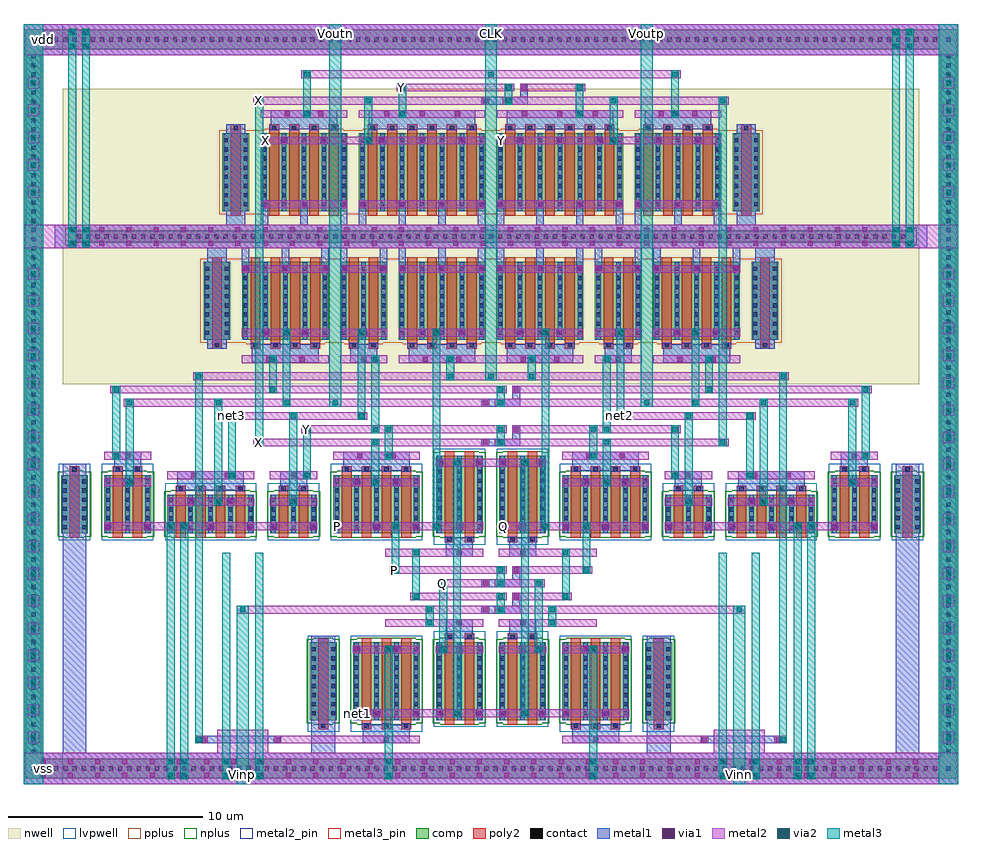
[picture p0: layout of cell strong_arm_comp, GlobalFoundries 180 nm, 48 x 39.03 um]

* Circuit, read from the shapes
.subckt strong_arm_comp CLK P Q Vinn Vinp Voutn Voutp X Y net1 net2 net3 vdd vss
XM1 vss vss vss vss nfet_03v3 w=3u l=0.5u m=2
XM2 Voutn Voutp vss vss nfet_03v3 w=3u l=0.5u m=2
XM3 Voutn net3 vss vss nfet_03v3 w=2u l=0.5u m=4
XM4 net3 Y vss vss nfet_03v3 w=2u l=0.5u m=2
XM5 vss vss vss vss nfet_03v3 w=4u l=0.5u m=2
XM6 X Y P vss nfet_03v3 w=3u l=0.5u m=4
XM7 net1 CLK vss vss nfet_03v3 w=4u l=0.5u m=6
XM8 Q Vinp net1 vss nfet_03v3 w=4u l=0.5u m=4
XM9 P Vinn net1 vss nfet_03v3 w=4u l=0.5u m=4
XM10 Y X Q vss nfet_03v3 w=3u l=0.5u m=4
XM11 net2 X vss vss nfet_03v3 w=2u l=0.5u m=2
XM12 Voutp net2 vss vss nfet_03v3 w=2u l=0.5u m=4
XM13 Voutp Voutn vss vss nfet_03v3 w=3u l=0.5u m=2
XM14 vdd vdd vdd vdd pfet_03v3 w=4u l=0.5u m=4
XM15 Voutn Voutp vdd vdd pfet_03v3 w=4u l=0.5u m=4
XM16 X CLK vdd vdd pfet_03v3 w=4u l=0.5u m=4
XM17 net3 Y vdd vdd pfet_03v3 w=4u l=0.5u m=2
XM18 X Y vdd vdd pfet_03v3 w=4u l=0.5u m=6
XM19 P CLK vdd vdd pfet_03v3 w=4u l=0.5u m=4
XM20 Q CLK vdd vdd pfet_03v3 w=4u l=0.5u m=4
XM21 Y X vdd vdd pfet_03v3 w=4u l=0.5u m=6
XM22 net2 X vdd vdd pfet_03v3 w=4u l=0.5u m=2
XM23 Y CLK vdd vdd pfet_03v3 w=4u l=0.5u m=4
XM24 Voutp Voutn vdd vdd pfet_03v3 w=4u l=0.5u m=4
.ends

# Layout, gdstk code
from math import pi, radians
import gdstk
lib = gdstk.Library(unit=1e-6, precision=1e-09)
def R(c, l, rs):  # rectangles x0, y0, x1, y1
    for r in rs: c.add(gdstk.rectangle(r[:2], r[2:], *l))
def A(c, l, x, y, w, h, nx, ny, dx, dy):  # array of equal rectangles
    R(c, l, [(x+i*dx, y+j*dy, x+i*dx+w, y+j*dy+h) for i in range(nx) for j in range(ny)])
nwell = (21, 0)
comp = (22, 0)
poly2 = (30, 0)
pplus = (31, 0)
nplus = (32, 0)
contact = (33, 0)
metal1 = (34, 0)
via1 = (35, 0)
metal2 = (36, 0)
metal2_pin = (36, 10)
via2 = (38, 0)
metal3 = (42, 0)
metal3_pin = (42, 10)
lvpwell = (204, 0)

nfet_03v3_wdbf7j = lib.new_cell('nfet_03v3_WDBF7J')
R(nfet_03v3_wdbf7j, comp, [(-0.69,-2.12,0.69,1.88)])
R(nfet_03v3_wdbf7j, poly2, [(-0.25,-2.34,0.25,2.34)])
R(nfet_03v3_wdbf7j, nplus, [(-0.48,-2.35,0.48,-2.28), (-0.85,-2.28,0.85,2.04), (-0.48,2.04,0.48,2.11)])
A(nfet_03v3_wdbf7j, contact, -0.62, -1.875, 0.22, 0.22, 1, 8, 0, 0.47)
A(nfet_03v3_wdbf7j, contact, 0.4, -1.875, 0.22, 0.22, 1, 8, 0, 0.47)
R(nfet_03v3_wdbf7j, contact, [(-0.11,2.05,0.11,2.27)])
R(nfet_03v3_wdbf7j, metal1, [(-0.625,-2.11,-0.395,1.87), (0.395,-2.11,0.625,1.87), (-0.24,2.045,0.24,2.275)])
R(nfet_03v3_wdbf7j, lvpwell, [(-0.81,-2.46,0.81,2.46)])

nfet_03v3_a8dk6g = lib.new_cell('nfet_03v3_A8DK6G')
R(nfet_03v3_a8dk6g, comp, [(-1.2,-2.12,1.2,1.88)])
R(nfet_03v3_a8dk6g, poly2, [(-0.76,-2.34,-0.26,2.34), (0.26,-2.34,0.76,2.34)])
R(nfet_03v3_a8dk6g, nplus, [(-0.99,-2.35,0.99,-2.28), (-1.36,-2.28,1.36,2.04), (-0.99,2.04,0.99,2.11)])
A(nfet_03v3_a8dk6g, contact, -1.13, -1.875, 0.22, 0.22, 3, 8, 1.02, 0.47)
R(nfet_03v3_a8dk6g, contact, [(-0.62,2.05,-0.4,2.27), (0.4,2.05,0.62,2.27)])
A(nfet_03v3_a8dk6g, metal1, -1.135, -2.11, 0.23, 3.98, 3, 1, 1.02, 0)
R(nfet_03v3_a8dk6g, metal1, [(-0.75,2.045,-0.27,2.275), (0.27,2.045,0.75,2.275)])
R(nfet_03v3_a8dk6g, lvpwell, [(-1.32,-2.46,1.32,2.46)])

nfet_03v3_7yj47k = lib.new_cell('nfet_03v3_7YJ47K')
R(nfet_03v3_7yj47k, comp, [(-1.71,-2.12,1.71,1.88)])
A(nfet_03v3_7yj47k, poly2, -1.27, -2.34, 0.5, 4.68, 3, 1, 1.02, 0)
R(nfet_03v3_7yj47k, nplus, [(-1.5,-2.35,1.5,-2.28), (-1.87,-2.28,1.87,2.04), (-1.5,2.04,1.5,2.11)])
A(nfet_03v3_7yj47k, contact, -1.64, -1.875, 0.22, 0.22, 4, 8, 1.02, 0.47)
A(nfet_03v3_7yj47k, contact, -1.13, 2.05, 0.22, 0.22, 3, 1, 1.02, 0)
A(nfet_03v3_7yj47k, metal1, -1.645, -2.11, 0.23, 3.98, 4, 1, 1.02, 0)
A(nfet_03v3_7yj47k, metal1, -1.26, 2.045, 0.48, 0.23, 3, 1, 1.02, 0)
R(nfet_03v3_7yj47k, lvpwell, [(-1.83,-2.46,1.83,2.46)])

nfet_03v3_9xudbl = lib.new_cell('nfet_03v3_9XUDBL')
R(nfet_03v3_9xudbl, comp, [(-0.69,-1.62,0.69,1.38)])
R(nfet_03v3_9xudbl, poly2, [(-0.25,-1.84,0.25,1.84)])
R(nfet_03v3_9xudbl, nplus, [(-0.48,-1.85,0.48,-1.78), (-0.85,-1.78,0.85,1.54), (-0.48,1.54,0.48,1.61)])
A(nfet_03v3_9xudbl, contact, -0.62, -1.405, 0.22, 0.22, 1, 6, 0, 0.47)
A(nfet_03v3_9xudbl, contact, 0.4, -1.405, 0.22, 0.22, 1, 6, 0, 0.47)
R(nfet_03v3_9xudbl, contact, [(-0.11,1.55,0.11,1.77)])
R(nfet_03v3_9xudbl, metal1, [(-0.625,-1.61,-0.395,1.37), (0.395,-1.61,0.625,1.37), (-0.24,1.545,0.24,1.775)])
R(nfet_03v3_9xudbl, lvpwell, [(-0.81,-1.96,0.81,1.96)])

nfet_03v3_9wnjz7 = lib.new_cell('nfet_03v3_9WNJZ7')
R(nfet_03v3_9wnjz7, comp, [(-1.2,-1.62,1.2,1.38)])
R(nfet_03v3_9wnjz7, poly2, [(-0.76,-1.84,-0.26,1.84), (0.26,-1.84,0.76,1.84)])
R(nfet_03v3_9wnjz7, nplus, [(-0.99,-1.85,0.99,-1.78), (-1.36,-1.78,1.36,1.54), (-0.99,1.54,0.99,1.61)])
A(nfet_03v3_9wnjz7, contact, -1.13, -1.405, 0.22, 0.22, 3, 6, 1.02, 0.47)
R(nfet_03v3_9wnjz7, contact, [(-0.62,1.55,-0.4,1.77), (0.4,1.55,0.62,1.77)])
A(nfet_03v3_9wnjz7, metal1, -1.135, -1.61, 0.23, 2.98, 3, 1, 1.02, 0)
R(nfet_03v3_9wnjz7, metal1, [(-0.75,1.545,-0.27,1.775), (0.27,1.545,0.75,1.775)])
R(nfet_03v3_9wnjz7, lvpwell, [(-1.32,-1.96,1.32,1.96)])

nfet_03v3_42md5l = lib.new_cell('nfet_03v3_42MD5L')
R(nfet_03v3_42md5l, comp, [(-2.22,-1.12,2.22,0.88)])
A(nfet_03v3_42md5l, poly2, -1.78, -1.34, 0.5, 2.68, 4, 1, 1.02, 0)
R(nfet_03v3_42md5l, nplus, [(-2.01,-1.35,2.01,-1.28), (-2.38,-1.28,2.38,1.04), (-2.01,1.04,2.01,1.11)])
A(nfet_03v3_42md5l, contact, -2.15, -0.935, 0.22, 0.22, 5, 4, 1.02, 0.47)
A(nfet_03v3_42md5l, contact, -1.64, 1.05, 0.22, 0.22, 4, 1, 1.02, 0)
A(nfet_03v3_42md5l, metal1, -2.155, -1.11, 0.23, 1.98, 5, 1, 1.02, 0)
A(nfet_03v3_42md5l, metal1, -1.77, 1.045, 0.48, 0.23, 4, 1, 1.02, 0)
R(nfet_03v3_42md5l, lvpwell, [(-2.34,-1.46,2.34,1.46)])

nfet_03v3_kp96zv = lib.new_cell('nfet_03v3_KP96ZV')
R(nfet_03v3_kp96zv, comp, [(-1.2,-1.12,1.2,0.88)])
R(nfet_03v3_kp96zv, poly2, [(-0.76,-1.34,-0.26,1.34), (0.26,-1.34,0.76,1.34)])
R(nfet_03v3_kp96zv, nplus, [(-0.99,-1.35,0.99,-1.28), (-1.36,-1.28,1.36,1.04), (-0.99,1.04,0.99,1.11)])
A(nfet_03v3_kp96zv, contact, -1.13, -0.935, 0.22, 0.22, 3, 4, 1.02, 0.47)
R(nfet_03v3_kp96zv, contact, [(-0.62,1.05,-0.4,1.27), (0.4,1.05,0.62,1.27)])
A(nfet_03v3_kp96zv, metal1, -1.135, -1.11, 0.23, 1.98, 3, 1, 1.02, 0)
R(nfet_03v3_kp96zv, metal1, [(-0.75,1.045,-0.27,1.275), (0.27,1.045,0.75,1.275)])
R(nfet_03v3_kp96zv, lvpwell, [(-1.32,-1.46,1.32,1.46)])

nfet_03v3_425gbq = lib.new_cell('nfet_03v3_425GBQ')
R(nfet_03v3_425gbq, comp, [(-2.22,-1.62,2.22,1.38)])
A(nfet_03v3_425gbq, poly2, -1.78, -1.84, 0.5, 3.68, 4, 1, 1.02, 0)
R(nfet_03v3_425gbq, nplus, [(-2.01,-1.85,2.01,-1.78), (-2.38,-1.78,2.38,1.54), (-2.01,1.54,2.01,1.61)])
A(nfet_03v3_425gbq, contact, -2.15, -1.405, 0.22, 0.22, 5, 6, 1.02, 0.47)
A(nfet_03v3_425gbq, contact, -1.64, 1.55, 0.22, 0.22, 4, 1, 1.02, 0)
A(nfet_03v3_425gbq, metal1, -2.155, -1.61, 0.23, 2.98, 5, 1, 1.02, 0)
A(nfet_03v3_425gbq, metal1, -1.77, 1.545, 0.48, 0.23, 4, 1, 1.02, 0)
R(nfet_03v3_425gbq, lvpwell, [(-2.34,-1.96,2.34,1.96)])

pfet_03v3_amaglz = lib.new_cell('pfet_03v3_AMAGLZ')
R(pfet_03v3_amaglz, nwell, [(-1.12,-2.77,1.12,2.77)])
R(pfet_03v3_amaglz, comp, [(-0.69,-2.12,0.69,1.88)])
R(pfet_03v3_amaglz, poly2, [(-0.25,-2.34,0.25,2.34)])
R(pfet_03v3_amaglz, pplus, [(-0.48,-2.35,0.48,-2.28), (-0.85,-2.28,0.85,2.04), (-0.48,2.04,0.48,2.11)])
A(pfet_03v3_amaglz, contact, -0.62, -1.875, 0.22, 0.22, 1, 8, 0, 0.47)
A(pfet_03v3_amaglz, contact, 0.4, -1.875, 0.22, 0.22, 1, 8, 0, 0.47)
R(pfet_03v3_amaglz, contact, [(-0.11,2.05,0.11,2.27)])
R(pfet_03v3_amaglz, metal1, [(-0.625,-2.11,-0.395,1.87), (0.395,-2.11,0.625,1.87), (-0.24,2.045,0.24,2.275)])

pfet_03v3_gp42x3 = lib.new_cell('pfet_03v3_GP42X3')
R(pfet_03v3_gp42x3, nwell, [(-2.65,-2.77,2.65,2.77)])
R(pfet_03v3_gp42x3, comp, [(-2.22,-2.12,2.22,1.88)])
A(pfet_03v3_gp42x3, poly2, -1.78, -2.34, 0.5, 4.68, 4, 1, 1.02, 0)
R(pfet_03v3_gp42x3, pplus, [(-2.01,-2.35,2.01,-2.28), (-2.38,-2.28,2.38,2.04), (-2.01,2.04,2.01,2.11)])
A(pfet_03v3_gp42x3, contact, -2.15, -1.875, 0.22, 0.22, 5, 8, 1.02, 0.47)
A(pfet_03v3_gp42x3, contact, -1.64, 2.05, 0.22, 0.22, 4, 1, 1.02, 0)
A(pfet_03v3_gp42x3, metal1, -2.155, -2.11, 0.23, 3.98, 5, 1, 1.02, 0)
A(pfet_03v3_gp42x3, metal1, -1.77, 2.045, 0.48, 0.23, 4, 1, 1.02, 0)

pfet_03v3_ze833c = lib.new_cell('pfet_03v3_ZE833C')
R(pfet_03v3_ze833c, nwell, [(-1.63,-2.77,1.63,2.77)])
R(pfet_03v3_ze833c, comp, [(-1.2,-2.12,1.2,1.88)])
R(pfet_03v3_ze833c, poly2, [(-0.76,-2.34,-0.26,2.34), (0.26,-2.34,0.76,2.34)])
R(pfet_03v3_ze833c, pplus, [(-0.99,-2.35,0.99,-2.28), (-1.36,-2.28,1.36,2.04), (-0.99,2.04,0.99,2.11)])
A(pfet_03v3_ze833c, contact, -1.13, -1.875, 0.22, 0.22, 3, 8, 1.02, 0.47)
R(pfet_03v3_ze833c, contact, [(-0.62,2.05,-0.4,2.27), (0.4,2.05,0.62,2.27)])
A(pfet_03v3_ze833c, metal1, -1.135, -2.11, 0.23, 3.98, 3, 1, 1.02, 0)
R(pfet_03v3_ze833c, metal1, [(-0.75,2.045,-0.27,2.275), (0.27,2.045,0.75,2.275)])

pfet_03v3_y9zhkl = lib.new_cell('pfet_03v3_Y9ZHKL')
R(pfet_03v3_y9zhkl, nwell, [(-3.67,-2.77,3.67,2.77)])
R(pfet_03v3_y9zhkl, comp, [(-3.24,-2.12,3.24,1.88)])
A(pfet_03v3_y9zhkl, poly2, -2.8, -2.34, 0.5, 4.68, 6, 1, 1.02, 0)
R(pfet_03v3_y9zhkl, pplus, [(-3.03,-2.35,3.03,-2.28), (-3.4,-2.28,3.4,2.04), (-3.03,2.04,3.03,2.11)])
A(pfet_03v3_y9zhkl, contact, -3.17, -1.875, 0.22, 0.22, 7, 8, 1.02, 0.47)
A(pfet_03v3_y9zhkl, contact, -2.66, 2.05, 0.22, 0.22, 6, 1, 1.02, 0)
A(pfet_03v3_y9zhkl, metal1, -3.175, -2.11, 0.23, 3.98, 7, 1, 1.02, 0)
A(pfet_03v3_y9zhkl, metal1, -2.79, 2.045, 0.48, 0.23, 6, 1, 1.02, 0)

strong_arm_comp = lib.new_cell('strong_arm_comp')
R(strong_arm_comp, nwell, [(-22,20.52,22,35.71)])
R(strong_arm_comp, comp, [(-23.9,0.3,23.9,1.3), (-23.9,1.3,-23.1,37.73), (23.1,1.3,23.9,37.73), (-21.7,27.815,21.7,28.415), (-23.9,37.73,23.9,38.73)])
A(strong_arm_comp, pplus, -5.18, 22.655, 0.28, 4.32, 3, 1, 5.04, 0)
A(strong_arm_comp, pplus, -7.22, 29.255, 0.28, 4.32, 3, 1, 7.08, 0)
R(strong_arm_comp, pplus, [(-23.92,0.28,23.92,1.32), (-23.92,1.32,-23.08,37.71), (23.08,1.32,23.92,37.71), (-13.22,22.655,-12.94,26.975), (-8.18,22.655,-7.9,26.975), (7.9,22.655,8.18,26.975), (12.94,22.655,13.22,26.975), (-12.26,29.255,-11.98,33.575), (11.98,29.255,12.26,33.575), (-23.92,37.71,23.92,38.75)])
R(strong_arm_comp, nplus, [(-21.86,27.655,-21.41,27.795), (21.41,27.655,21.86,27.795), (-21.86,27.795,21.86,28.435), (-21.86,28.435,-21.41,28.575), (21.41,28.435,21.86,28.575)])
A(strong_arm_comp, contact, -22.905, 0.69, 0.22, 0.22, 98, 2, 0.47, 37.43)
A(strong_arm_comp, contact, -23.61, 1.545, 0.22, 0.22, 1, 77, 0, 0.47)
A(strong_arm_comp, contact, 23.39, 1.545, 0.22, 0.22, 1, 77, 0, 0.47)
A(strong_arm_comp, contact, -21.26, 28.005, 0.22, 0.22, 91, 1, 0.47, 0)
R(strong_arm_comp, contact, [(-23.61,0.69,-23.39,0.91), (23.39,0.69,23.61,0.91), (-23.61,38.12,-23.39,38.34), (23.39,38.12,23.61,38.34)])
A(strong_arm_comp, metal1, -5.05, 6.72, 0.38, 0.38, 4, 1, 3.24, 0)
A(strong_arm_comp, metal1, -16.63, 13.04, 0.38, 0.38, 3, 1, 2.04, 0)
A(strong_arm_comp, metal1, -8.11, 13.04, 0.38, 0.38, 3, 1, 2.04, 0)
A(strong_arm_comp, metal1, 3.65, 13.04, 0.38, 0.38, 3, 1, 2.04, 0)
A(strong_arm_comp, metal1, 12.17, 13.04, 0.38, 0.38, 3, 1, 2.04, 0)
A(strong_arm_comp, metal1, -9.73, 22.99, 0.38, 0.38, 3, 1, 3, 0)
A(strong_arm_comp, metal1, 3.35, 22.99, 0.38, 0.38, 3, 1, 3, 0)
A(strong_arm_comp, metal1, -12.79, 26.26, 0.38, 1.255, 3, 1, 2.04, 0)
A(strong_arm_comp, metal1, -4.75, 26.26, 0.38, 1.255, 3, 1, 2.04, 0)
A(strong_arm_comp, metal1, 0.29, 26.26, 0.38, 1.255, 3, 1, 2.04, 0)
A(strong_arm_comp, metal1, 8.33, 26.26, 0.38, 1.255, 3, 1, 2.04, 0)
A(strong_arm_comp, metal1, -11.83, 28.715, 0.38, 1.255, 3, 1, 2.04, 0)
A(strong_arm_comp, metal1, -6.79, 28.715, 0.38, 1.255, 4, 1, 2.04, 0)
A(strong_arm_comp, metal1, 0.29, 28.715, 0.38, 1.255, 4, 1, 2.04, 0)
A(strong_arm_comp, metal1, 7.37, 28.715, 0.38, 1.255, 3, 1, 2.04, 0)
A(strong_arm_comp, metal1, -5.77, 32.86, 0.38, 0.38, 3, 1, 2.04, 0)
A(strong_arm_comp, metal1, 1.31, 32.86, 0.38, 0.38, 3, 1, 2.04, 0)
R(strong_arm_comp, metal1, [(-24,0,24,1.6), (-24,1.6,-23,37.43), (-22,1.6,-20.78,16.445), (-9.22,1.6,-8,7.615), (8,1.6,9.22,7.615), (20.78,1.6,22,16.445), (23,1.6,24,37.43), (-14.94,2.08,-10.76,2.48), (10.76,2.08,14.94,2.48), (-6.575,2.09,-4.165,3.055), (4.165,2.09,6.575,3.055), (-6.07,3.45,-5.69,3.83), (-4.03,3.45,-3.65,3.83), (-2.83,3.45,-2.45,3.83), (-0.79,3.45,-0.41,3.83), (0.41,3.45,0.79,3.83), (2.45,3.45,2.83,3.83), (3.65,3.45,4.03,3.83), (5.69,3.45,6.07,3.83), (-7.09,6.72,-6.71,7.1), (6.71,6.72,7.09,7.1), (-2.315,7.495,-0.925,8.46), (0.925,7.495,2.315,8.46), (-0.5,8.75,1.5,9.15), (1.1,9.15,1.5,9.83), (-0.5,10.11,1.5,10.51), (1.1,10.51,1.5,11.19), (-2.315,11.68,-0.925,12.645), (0.925,11.68,2.315,12.645), (-19.87,13.04,-19.49,13.42), (-17.83,13.04,-17.45,13.42), (-11.35,13.04,-10.97,13.42), (-9.31,13.04,-8.93,13.42), (-1.81,13.04,-1.43,13.42), (1.43,13.04,1.81,13.42), (8.93,13.04,9.31,13.42), (10.97,13.04,11.35,13.42), (17.45,13.04,17.83,13.42), (19.49,13.04,19.87,13.42), (-15.61,14.31,-15.23,14.69), (-13.57,14.31,-13.19,14.69), (-10.33,14.31,-9.95,14.69), (9.95,14.31,10.33,14.69), (13.19,14.31,13.57,14.69), (15.23,14.31,15.61,14.69), (-16.115,15.085,-12.685,16.05), (-10.835,15.085,-9.445,16.05), (9.445,15.085,10.835,16.05), (12.685,15.085,16.115,16.05), (-18.85,15.31,-18.47,15.69), (-7.09,15.31,-6.71,15.69), (-5.05,15.31,-4.67,15.69), (4.67,15.31,5.05,15.69), (6.71,15.31,7.09,15.69), (18.47,15.31,18.85,15.69), (-19.355,16.085,-17.965,17.05), (-7.595,16.085,-4.165,17.05), (4.165,16.085,7.595,17.05), (17.965,16.085,19.355,17.05), (-2.83,16.31,-2.45,16.69), (-0.79,16.31,-0.41,16.69), (0.41,16.31,0.79,16.69), (2.45,16.31,2.83,16.69), (-0.5,17.34,1.5,17.74), (1.1,17.74,1.5,18.42), (-0.5,19.38,1.5,19.78), (1.1,19.78,1.5,20.46), (-12.275,21.63,-8.845,22.595), (-7.235,21.63,-5.845,22.595), (-4.235,21.63,-0.805,22.595), (0.805,21.63,4.235,22.595), (5.845,21.63,7.235,22.595), (8.845,21.63,12.275,22.595), (-14.56,22.355,-13.58,27.515), (13.58,22.355,14.56,27.515), (-11.77,22.99,-11.39,23.37), (-1.69,22.99,-1.31,23.37), (1.31,22.99,1.69,23.37), (11.39,22.99,11.77,23.37), (-7.75,26.26,-7.37,27.515), (-5.71,26.26,-5.33,27.515), (5.33,26.26,5.71,27.515), (7.37,26.26,7.75,27.515), (-22.4,27.515,22.4,28.715), (-13.6,28.715,-12.62,33.875), (12.62,28.715,13.6,33.875), (-10.81,32.86,-10.43,33.24), (-8.77,32.86,-8.39,33.24), (8.39,32.86,8.77,33.24), (10.43,32.86,10.81,33.24), (-11.315,33.635,-7.885,34.6), (-6.275,33.635,-0.805,34.6), (0.805,33.635,6.275,34.6), (7.885,33.635,11.315,34.6), (-0.5,34.89,1.9,35.29), (1.5,35.29,1.9,35.97), (-24,37.43,24,39.03)])
A(strong_arm_comp, via1, -23.13, 0.32, 0.26, 0.26, 33, 2, 1.4, 0.7)
A(strong_arm_comp, via1, -23.63, 2.27, 0.26, 0.26, 1, 18, 0, 1.4)
A(strong_arm_comp, via1, 23.37, 2.27, 0.26, 0.26, 1, 18, 0, 1.4)
A(strong_arm_comp, via1, -4.99, 6.78, 0.26, 0.26, 4, 1, 3.24, 0)
A(strong_arm_comp, via1, -16.57, 13.1, 0.26, 0.26, 3, 1, 2.04, 0)
A(strong_arm_comp, via1, -8.05, 13.1, 0.26, 0.26, 3, 1, 2.04, 0)
A(strong_arm_comp, via1, 3.71, 13.1, 0.26, 0.26, 3, 1, 2.04, 0)
A(strong_arm_comp, via1, 12.23, 13.1, 0.26, 0.26, 3, 1, 2.04, 0)
A(strong_arm_comp, via1, -9.835, 21.69, 0.26, 0.26, 3, 1, 3.165, 0)
A(strong_arm_comp, via1, 3.245, 21.69, 0.26, 0.26, 3, 1, 3.165, 0)
A(strong_arm_comp, via1, -9.67, 23.05, 0.26, 0.26, 3, 1, 3, 0)
A(strong_arm_comp, via1, 3.41, 23.05, 0.26, 0.26, 3, 1, 3, 0)
A(strong_arm_comp, via1, -12.73, 26.32, 0.26, 0.26, 3, 1, 2.04, 0)
A(strong_arm_comp, via1, -4.69, 26.32, 0.26, 0.26, 3, 1, 2.04, 0)
A(strong_arm_comp, via1, 0.35, 26.32, 0.26, 0.26, 3, 1, 2.04, 0)
A(strong_arm_comp, via1, 8.39, 26.32, 0.26, 0.26, 3, 1, 2.04, 0)
A(strong_arm_comp, via1, -21.53, 27.635, 0.26, 0.26, 30, 2, 1.4, 0.7)
A(strong_arm_comp, via1, -11.77, 29.65, 0.26, 0.26, 3, 1, 2.04, 0)
A(strong_arm_comp, via1, -6.73, 29.65, 0.26, 0.26, 4, 1, 2.04, 0)
A(strong_arm_comp, via1, 0.35, 29.65, 0.26, 0.26, 4, 1, 2.04, 0)
A(strong_arm_comp, via1, 7.43, 29.65, 0.26, 0.26, 3, 1, 2.04, 0)
A(strong_arm_comp, via1, -23.63, 30.27, 0.26, 0.26, 1, 5, 0, 1.4)
A(strong_arm_comp, via1, 23.37, 30.27, 0.26, 0.26, 1, 5, 0, 1.4)
A(strong_arm_comp, via1, -5.71, 32.92, 0.26, 0.26, 3, 1, 2.04, 0)
A(strong_arm_comp, via1, 1.37, 32.92, 0.26, 0.26, 3, 1, 2.04, 0)
A(strong_arm_comp, via1, -5.49, 34.28, 0.26, 0.26, 3, 1, 1.82, 0)
A(strong_arm_comp, via1, 1.59, 34.28, 0.26, 0.26, 3, 1, 1.82, 0)
R(strong_arm_comp, via1, [(-14.88,2.15,-14.62,2.41), (-11.08,2.15,-10.82,2.41), (-5.5,2.15,-5.24,2.41), (5.24,2.15,5.5,2.41), (10.82,2.15,11.08,2.41), (14.62,2.15,14.88,2.41), (-6.01,3.51,-5.75,3.77), (-3.97,3.51,-3.71,3.77), (-2.77,3.51,-2.51,3.77), (-0.73,3.51,-0.47,3.77), (0.47,3.51,0.73,3.77), (2.51,3.51,2.77,3.77), (3.71,3.51,3.97,3.77), (5.75,3.51,6.01,3.77), (-7.03,6.78,-6.77,7.04), (6.77,6.78,7.03,7.04), (-1.75,8.14,-1.49,8.4), (1.49,8.14,1.75,8.4), (-0.43,8.82,-0.17,9.08), (1.17,9.5,1.43,9.76), (-0.43,10.18,-0.17,10.44), (1.17,10.86,1.43,11.12), (-1.75,11.74,-1.49,12), (1.49,11.74,1.75,12), (-19.81,13.1,-19.55,13.36), (-17.77,13.1,-17.51,13.36), (-11.29,13.1,-11.03,13.36), (-9.25,13.1,-8.99,13.36), (-1.75,13.1,-1.49,13.36), (1.49,13.1,1.75,13.36), (8.99,13.1,9.25,13.36), (11.03,13.1,11.29,13.36), (17.51,13.1,17.77,13.36), (19.55,13.1,19.81,13.36), (-15.55,14.37,-15.29,14.63), (-13.51,14.37,-13.25,14.63), (-10.27,14.37,-10.01,14.63), (10.01,14.37,10.27,14.63), (13.25,14.37,13.51,14.63), (15.29,14.37,15.55,14.63), (-18.79,15.37,-18.53,15.63), (-7.03,15.37,-6.77,15.63), (-4.99,15.37,-4.73,15.63), (4.73,15.37,4.99,15.63), (6.77,15.37,7.03,15.63), (18.53,15.37,18.79,15.63), (-15.385,15.73,-15.125,15.99), (-13.675,15.73,-13.415,15.99), (-10.27,15.73,-10.01,15.99), (10.01,15.73,10.27,15.99), (13.415,15.73,13.675,15.99), (15.125,15.73,15.385,15.99), (-2.77,16.37,-2.51,16.63), (-0.73,16.37,-0.47,16.63), (0.47,16.37,0.73,16.63), (2.51,16.37,2.77,16.63), (-18.79,16.73,-18.53,16.99), (-6.865,16.73,-6.605,16.99), (-5.155,16.73,-4.895,16.99), (4.895,16.73,5.155,16.99), (6.605,16.73,6.865,16.99), (18.53,16.73,18.79,16.99), (-0.43,17.41,-0.17,17.67), (1.17,18.09,1.43,18.35), (-0.43,19.45,-0.17,19.71), (1.17,20.13,1.43,20.39), (-11.545,21.69,-11.285,21.95), (-1.795,21.69,-1.535,21.95), (1.535,21.69,1.795,21.95), (11.285,21.69,11.545,21.95), (-11.71,23.05,-11.45,23.31), (-1.63,23.05,-1.37,23.31), (1.37,23.05,1.63,23.31), (11.45,23.05,11.71,23.31), (-7.69,26.32,-7.43,26.58), (-5.65,26.32,-5.39,26.58), (5.39,26.32,5.65,26.58), (7.43,26.32,7.69,26.58), (-10.75,32.92,-10.49,33.18), (-8.71,32.92,-8.45,33.18), (8.45,32.92,8.71,33.18), (10.49,32.92,10.75,33.18), (-10.585,34.28,-10.325,34.54), (-8.875,34.28,-8.615,34.54), (8.615,34.28,8.875,34.54), (10.325,34.28,10.585,34.54), (-0.43,34.96,-0.17,35.22), (1.57,35.64,1.83,35.9)])
A(strong_arm_comp, metal2, -23.8, 2.1, 0.6, 0.6, 1, 18, 0, 1.4)
A(strong_arm_comp, metal2, 23.2, 2.1, 0.6, 0.6, 1, 18, 0, 1.4)
A(strong_arm_comp, metal2, -23.8, 30.1, 0.6, 0.6, 1, 5, 0, 1.4)
A(strong_arm_comp, metal2, 23.2, 30.1, 0.6, 0.6, 1, 5, 0, 1.4)
R(strong_arm_comp, metal2, [(-24,0,24,1.6), (-14.05,1.6,-11.45,2.78), (11.45,1.6,14.05,2.78), (-15.2,2.08,-14.55,2.48), (-11.15,2.08,-3.65,2.48), (3.65,2.08,11.15,2.48), (14.55,2.08,15.2,2.48), (-7.09,3.44,7.09,3.84), (-7.09,6.71,-3.65,7.11), (-2.83,6.71,-0.41,7.11), (0.41,6.71,2.83,7.11), (3.65,6.71,7.09,7.11), (-5.43,8.07,-0.41,8.47), (0.41,8.07,5.43,8.47), (-13.05,8.75,-0.1,9.15), (0.2,8.75,13.05,9.15), (-4.15,9.43,0.8,9.83), (1.1,9.43,4.15,9.83), (-2.75,10.11,-0.1,10.51), (0.2,10.11,2.75,10.51), (-5.2,10.79,0.8,11.19), (1.1,10.79,5.2,11.19), (-5.43,11.67,-0.41,12.07), (0.41,11.67,5.43,12.07), (-19.87,13.03,-8.93,13.43), (-8.11,13.03,-0.41,13.43), (0.41,13.03,8.11,13.43), (8.93,13.03,19.87,13.43), (-16.63,14.3,-12.17,14.7), (-11.35,14.3,-8.93,14.7), (8.93,14.3,11.35,14.7), (12.17,14.3,16.63,14.7), (-19.87,15.3,-17.45,15.7), (-8.11,15.3,-3.65,15.7), (3.65,15.3,8.11,15.7), (17.45,15.3,19.87,15.7), (-16.63,15.66,-12.17,16.06), (-11.35,15.66,-8.93,16.06), (8.93,15.66,11.35,16.06), (12.17,15.66,16.63,16.06), (-2.83,16.3,2.83,16.7), (-19.87,16.66,-17.45,17.06), (-8.11,16.66,-3.65,17.06), (3.65,16.66,8.11,17.06), (17.45,16.66,19.87,17.06), (-12.2,17.34,-0.1,17.74), (0.2,17.34,12.2,17.74), (-9.75,18.02,0.8,18.42), (1.1,18.02,9.75,18.42), (-13.6,18.7,-6.35,19.1), (6.35,18.7,13.6,19.1), (-18.85,19.38,-0.1,19.78), (0.2,19.38,18.85,19.78), (-19.55,20.06,0.8,20.46), (1.1,20.06,19.55,20.46), (-15.3,20.74,15.3,21.14), (-12.79,21.62,-8.33,22.02), (-7.75,21.62,-5.33,22.02), (-4.75,21.62,4.75,22.02), (5.33,21.62,7.75,22.02), (8.33,21.62,12.79,22.02), (-12.79,22.98,-8.33,23.38), (-7.75,22.98,-5.33,23.38), (-4.75,22.98,-0.29,23.38), (0.29,22.98,4.75,23.38), (5.33,22.98,7.75,23.38), (8.33,22.98,12.79,23.38), (-12.79,26.25,-8.33,26.65), (-7.75,26.25,-5.33,26.65), (-4.75,26.25,-0.29,26.65), (0.29,26.25,4.75,26.65), (5.33,26.25,7.75,26.65), (8.33,26.25,12.79,26.65), (-24,27.515,24,28.715), (-11.83,29.58,-7.37,29.98), (-6.79,29.58,-0.29,29.98), (0.29,29.58,6.79,29.98), (7.37,29.58,11.83,29.98), (-11.83,32.85,-0.29,33.25), (0.29,32.85,11.83,33.25), (-11.83,34.21,-7.37,34.61), (-6.79,34.21,-0.29,34.61), (0.29,34.21,6.79,34.61), (7.37,34.21,11.83,34.61), (-12.2,34.89,-0.1,35.29), (0.6,34.89,12.2,35.29), (-4.85,35.57,1.2,35.97), (1.5,35.57,4.85,35.97), (-9.75,36.25,9.75,36.65), (-24,37.43,24,39.03)])
R(strong_arm_comp, metal2_pin, [(-24,0,-22,1.6), (-24,37.43,-22,39.03)])
A(strong_arm_comp, via2, -23.63, 2.27, 0.26, 0.26, 1, 18, 0, 1.4)
A(strong_arm_comp, via2, 23.37, 2.27, 0.26, 0.26, 1, 18, 0, 1.4)
A(strong_arm_comp, via2, 0.37, 8.82, 0.26, 0.26, 1, 4, 0, 0.68)
A(strong_arm_comp, via2, -2.23, 20.81, 0.26, 0.26, 3, 1, 2.1, 0)
A(strong_arm_comp, via2, -10.63, 23.05, 0.26, 0.26, 3, 1, 3.85, 0)
A(strong_arm_comp, via2, 2.67, 23.05, 0.26, 0.26, 3, 1, 3.85, 0)
A(strong_arm_comp, via2, -23.63, 30.27, 0.26, 0.26, 1, 5, 0, 1.4)
A(strong_arm_comp, via2, 23.37, 30.27, 0.26, 0.26, 1, 5, 0, 1.4)
A(strong_arm_comp, via2, -9.58, 36.32, 0.26, 0.26, 3, 1, 9.45, 0)
R(strong_arm_comp, via2, [(-16.58,0.32,-16.32,0.58), (-15.88,0.32,-15.62,0.58), (-13.73,0.32,-13.47,0.58), (-12.03,0.32,-11.77,0.58), (-5.38,0.32,-5.12,0.58), (5.12,0.32,5.38,0.58), (11.77,0.32,12.03,0.58), (13.47,0.32,13.73,0.58), (15.62,0.32,15.88,0.58), (16.32,0.32,16.58,0.58), (-16.58,1.02,-16.32,1.28), (-15.88,1.02,-15.62,1.28), (-13.73,1.02,-13.47,1.28), (-12.03,1.02,-11.77,1.28), (-5.38,1.02,-5.12,1.28), (5.12,1.02,5.38,1.28), (11.77,1.02,12.03,1.28), (13.47,1.02,13.73,1.28), (15.62,1.02,15.88,1.28), (16.32,1.02,16.58,1.28), (-15.13,2.15,-14.87,2.41), (14.87,2.15,15.13,2.41), (-1.88,3.51,-1.62,3.77), (1.62,3.51,1.88,3.77), (-5.38,6.78,-5.12,7.04), (-2.58,6.78,-2.32,7.04), (2.32,6.78,2.58,7.04), (5.12,6.78,5.38,7.04), (-3.28,8.14,-3.02,8.4), (3.02,8.14,3.28,8.4), (-12.88,8.82,-12.62,9.08), (-3.28,8.82,-3.02,9.08), (3.02,8.82,3.28,9.08), (12.62,8.82,12.88,9.08), (-3.98,9.5,-3.72,9.76), (3.72,9.5,3.98,9.76), (-2.58,10.18,-2.32,10.44), (2.32,10.18,2.58,10.44), (-5.03,10.86,-4.77,11.12), (4.77,10.86,5.03,11.12), (-3.98,11.74,-3.72,12), (3.72,11.74,3.98,12), (-16.58,13.1,-16.32,13.36), (-15.88,13.1,-15.62,13.36), (-5.03,13.1,-4.77,13.36), (-2.93,13.1,-2.67,13.36), (2.67,13.1,2.93,13.36), (4.77,13.1,5.03,13.36), (15.62,13.1,15.88,13.36), (16.32,13.1,16.58,13.36), (-14.13,14.37,-13.87,14.63), (-10.28,14.37,-10.02,14.63), (10.02,14.37,10.28,14.63), (13.87,14.37,14.13,14.63), (-18.68,15.37,-18.42,15.63), (-6.08,15.37,-5.82,15.63), (5.82,15.37,6.08,15.63), (18.42,15.37,18.68,15.63), (-13.43,15.73,-13.17,15.99), (-9.58,15.73,-9.32,15.99), (9.32,15.73,9.58,15.99), (13.17,15.73,13.43,15.99), (-1.88,16.37,-1.62,16.63), (1.62,16.37,1.88,16.63), (-19.38,16.73,-19.12,16.99), (-5.38,16.73,-5.12,16.99), (5.12,16.73,5.38,16.99), (19.12,16.73,19.38,16.99), (-12.03,17.41,-11.77,17.67), (-6.08,17.41,-5.82,17.67), (0.37,17.41,0.63,17.67), (5.82,17.41,6.08,17.67), (11.77,17.41,12.03,17.67), (-9.58,18.09,-9.32,18.35), (-6.08,18.09,-5.82,18.35), (-5.38,18.09,-5.12,18.35), (0.37,18.09,0.63,18.35), (5.12,18.09,5.38,18.35), (5.82,18.09,6.08,18.35), (9.32,18.09,9.58,18.35), (-13.43,18.77,-13.17,19.03), (-10.28,18.77,-10.02,19.03), (-6.78,18.77,-6.52,19.03), (6.52,18.77,6.78,19.03), (10.02,18.77,10.28,19.03), (13.17,18.77,13.43,19.03), (-18.68,19.45,-18.42,19.71), (-14.13,19.45,-13.87,19.71), (-10.63,19.45,-10.37,19.71), (-8.13,19.45,-7.87,19.71), (0.37,19.45,0.63,19.71), (7.87,19.45,8.13,19.71), (10.37,19.45,10.63,19.71), (13.87,19.45,14.13,19.71), (18.42,19.45,18.68,19.71), (-19.38,20.13,-19.12,20.39), (-11.33,20.13,-11.07,20.39), (0.37,20.13,0.63,20.39), (11.07,20.13,11.33,20.39), (19.12,20.13,19.38,20.39), (-15.13,20.81,-14.87,21.07), (14.87,20.81,15.13,21.07), (-11.33,21.69,-11.07,21.95), (-6.08,21.69,-5.82,21.95), (-2.23,21.69,-1.97,21.95), (1.97,21.69,2.23,21.95), (5.82,21.69,6.08,21.95), (11.07,21.69,11.33,21.95), (-21.63,27.635,-21.37,27.895), (-20.93,27.635,-20.67,27.895), (20.67,27.635,20.93,27.895), (21.37,27.635,21.63,27.895), (-21.63,28.335,-21.37,28.595), (-20.93,28.335,-20.67,28.595), (20.67,28.335,20.93,28.595), (21.37,28.335,21.63,28.595), (-6.43,32.92,-6.17,33.18), (6.17,32.92,6.43,33.18), (-9.58,34.28,-9.32,34.54), (-4.68,34.28,-4.42,34.54), (4.42,34.28,4.68,34.54), (9.32,34.28,9.58,34.54), (-12.03,34.96,-11.77,35.22), (-6.43,34.96,-6.17,35.22), (0.77,34.96,1.03,35.22), (6.17,34.96,6.43,35.22), (11.77,34.96,12.03,35.22), (-4.68,35.64,-4.42,35.9), (0.77,35.64,1.03,35.9), (4.42,35.64,4.68,35.9), (-21.63,37.75,-21.37,38.01), (-20.93,37.75,-20.67,38.01), (20.67,37.75,20.93,38.01), (21.37,37.75,21.63,38.01), (-21.63,38.45,-21.37,38.71), (-20.93,38.45,-20.67,38.71), (20.67,38.45,20.93,38.71), (21.37,38.45,21.63,38.71)])
R(strong_arm_comp, metal3, [(-24,0,-23,39.03), (-13.05,0,-12.45,9.15), (12.45,0,13.05,9.15), (23,0,24,39.03), (-16.65,0.25,-16.25,13.43), (-15.95,0.25,-15.55,13.43), (-13.8,0.25,-13.4,11.87), (-12.1,0.25,-11.7,11.87), (-5.45,0.25,-5.05,7.11), (5.05,0.25,5.45,7.11), (11.7,0.25,12.1,11.87), (13.4,0.25,13.8,11.87), (15.55,0.25,15.95,13.43), (16.25,0.25,16.65,13.43), (-15.2,2.08,-14.8,21.14), (14.8,2.08,15.2,21.14), (-1.95,3.44,-1.55,16.7), (1.55,3.44,1.95,16.7), (-2.65,6.71,-2.25,10.51), (2.25,6.71,2.65,10.51), (-3.35,8.07,-2.95,9.15), (2.95,8.07,3.35,9.15), (0.3,8.75,0.7,9.83), (-4.05,9.43,-3.65,12.07), (3.65,9.43,4.05,12.07), (0.3,10.11,0.7,11.19), (-5.1,10.79,-4.7,13.43), (4.7,10.79,5.1,13.43), (-3,13.03,-2.6,23.38), (2.6,13.03,3,23.38), (-14.2,14.3,-13.8,19.78), (-10.35,14.3,-9.95,19.1), (9.95,14.3,10.35,19.1), (13.8,14.3,14.2,19.78), (-18.75,15.3,-18.35,19.78), (-6.15,15.3,-5.75,17.74), (5.75,15.3,6.15,17.74), (18.35,15.3,18.75,19.78), (-13.5,15.66,-13.1,19.1), (-9.65,15.66,-9.25,18.42), (9.25,15.66,9.65,18.42), (13.1,15.66,13.5,19.1), (-19.45,16.66,-19.05,20.46), (-5.45,16.66,-5.05,18.42), (5.05,16.66,5.45,18.42), (19.05,16.66,19.45,20.46), (-12.1,17.34,-11.7,35.29), (0.3,17.34,0.7,18.42), (11.7,17.34,12.1,35.29), (-6.15,18.02,-5.75,22.02), (5.75,18.02,6.15,22.02), (-6.85,18.7,-6.45,23.38), (6.45,18.7,6.85,23.38), (-10.7,19.38,-10.3,23.38), (-8.3,19.38,-7.7,39.03), (0.3,19.38,0.7,20.46), (7.7,19.38,8.3,39.03), (10.3,19.38,10.7,23.38), (-11.4,20.06,-11,22.02), (11,20.06,11.4,22.02), (-2.3,20.74,-1.9,22.02), (-0.3,20.74,0.3,39.03), (1.9,20.74,2.3,22.02), (-21.7,27.565,-21.3,38.78), (-21,27.565,-20.6,38.78), (20.6,27.565,21,38.78), (21.3,27.565,21.7,38.78), (-6.5,32.85,-6.1,35.29), (6.1,32.85,6.5,35.29), (-9.65,34.21,-9.25,36.65), (-4.75,34.21,-4.35,35.97), (4.35,34.21,4.75,35.97), (9.25,34.21,9.65,36.65), (0.7,34.89,1.1,35.97)])
A(strong_arm_comp, metal3_pin, -8.3, 38.03, 0.6, 1, 3, 1, 8, 0)
R(strong_arm_comp, metal3_pin, [(-13.05,0,-12.45,1), (12.45,0,13.05,1)])
strong_arm_comp.add(gdstk.Reference(nfet_03v3_wdbf7j, (-8.61,5.155), x_reflection=True))
strong_arm_comp.add(gdstk.Reference(nfet_03v3_a8dk6g, (-1.62,5.395)))
strong_arm_comp.add(gdstk.Reference(nfet_03v3_7yj47k, (-5.37,5.155), x_reflection=True))
strong_arm_comp.add(gdstk.Reference(nfet_03v3_a8dk6g, (1.62,5.395), rotation=pi, x_reflection=True))
strong_arm_comp.add(gdstk.Reference(nfet_03v3_7yj47k, (5.37,5.155), rotation=pi))
strong_arm_comp.add(gdstk.Reference(nfet_03v3_wdbf7j, (8.61,5.155), rotation=pi))
strong_arm_comp.add(gdstk.Reference(nfet_03v3_9xudbl, (-21.39,14.485)))
strong_arm_comp.add(gdstk.Reference(nfet_03v3_9wnjz7, (-18.66,14.485)))
strong_arm_comp.add(gdstk.Reference(nfet_03v3_42md5l, (-14.4,13.985)))
strong_arm_comp.add(gdstk.Reference(nfet_03v3_kp96zv, (-10.14,13.985)))
strong_arm_comp.add(gdstk.Reference(nfet_03v3_425gbq, (-5.88,14.485)))
strong_arm_comp.add(gdstk.Reference(nfet_03v3_a8dk6g, (-1.62,14.745), x_reflection=True))
strong_arm_comp.add(gdstk.Reference(nfet_03v3_425gbq, (5.88,14.485), rotation=pi, x_reflection=True))
strong_arm_comp.add(gdstk.Reference(nfet_03v3_a8dk6g, (1.62,14.745), rotation=pi))
strong_arm_comp.add(gdstk.Reference(nfet_03v3_42md5l, (14.4,13.985), rotation=pi, x_reflection=True))
strong_arm_comp.add(gdstk.Reference(nfet_03v3_kp96zv, (10.14,13.985), rotation=pi, x_reflection=True))
strong_arm_comp.add(gdstk.Reference(nfet_03v3_9xudbl, (21.39,14.485), rotation=pi, x_reflection=True))
strong_arm_comp.add(gdstk.Reference(nfet_03v3_9wnjz7, (18.66,14.485), rotation=pi, x_reflection=True))
strong_arm_comp.add(gdstk.Reference(pfet_03v3_amaglz, (-14.07,24.695), x_reflection=True))
strong_arm_comp.add(gdstk.Reference(pfet_03v3_gp42x3, (-10.56,24.695), x_reflection=True))
strong_arm_comp.add(gdstk.Reference(pfet_03v3_ze833c, (-6.54,24.695), x_reflection=True))
strong_arm_comp.add(gdstk.Reference(pfet_03v3_gp42x3, (-2.52,24.695), x_reflection=True))
strong_arm_comp.add(gdstk.Reference(pfet_03v3_gp42x3, (2.52,24.695), rotation=pi))
strong_arm_comp.add(gdstk.Reference(pfet_03v3_ze833c, (6.54,24.695), rotation=pi))
strong_arm_comp.add(gdstk.Reference(pfet_03v3_amaglz, (14.07,24.695), rotation=pi))
strong_arm_comp.add(gdstk.Reference(pfet_03v3_gp42x3, (10.56,24.695), rotation=pi))
strong_arm_comp.add(gdstk.Reference(pfet_03v3_amaglz, (-13.11,31.535)))
strong_arm_comp.add(gdstk.Reference(pfet_03v3_gp42x3, (-9.6,31.535)))
strong_arm_comp.add(gdstk.Reference(pfet_03v3_y9zhkl, (-3.54,31.535)))
strong_arm_comp.add(gdstk.Reference(pfet_03v3_gp42x3, (9.6,31.535), rotation=pi, x_reflection=True))
strong_arm_comp.add(gdstk.Reference(pfet_03v3_y9zhkl, (3.54,31.535), rotation=pi, x_reflection=True))
strong_arm_comp.add(gdstk.Reference(pfet_03v3_amaglz, (13.11,31.535), rotation=pi, x_reflection=True))
strong_arm_comp.add(gdstk.Label('net1', (-6.84,3.64), layer=36, texttype=0))
strong_arm_comp.add(gdstk.Label('P', (-7.86,13.23), layer=36, texttype=0))
strong_arm_comp.add(gdstk.Label('Q', (0.66,13.23), layer=36, texttype=0))
strong_arm_comp.add(gdstk.Label('X', (-11.58,33.05), layer=36, texttype=0))
strong_arm_comp.add(gdstk.Label('Y', (0.54,33.05), layer=36, texttype=0))
strong_arm_comp.add(gdstk.Label('Q', (-2.5,10.31), layer=36, texttype=0))
strong_arm_comp.add(gdstk.Label('P', (-4.95,10.99), layer=36, texttype=0))
strong_arm_comp.add(gdstk.Label('X', (-11.95,17.54), layer=36, texttype=0))
strong_arm_comp.add(gdstk.Label('Y', (-9.5,18.22), layer=36, texttype=0))
strong_arm_comp.add(gdstk.Label('net3', (-13.35,18.9), layer=36, texttype=0))
strong_arm_comp.add(gdstk.Label('net2', (6.6,18.9), layer=36, texttype=0))
strong_arm_comp.add(gdstk.Label('X', (-11.95,35.09), layer=36, texttype=0))
strong_arm_comp.add(gdstk.Label('Y', (-4.6,35.77), layer=36, texttype=0))
strong_arm_comp.add(gdstk.Label('Voutn', (-8,38.53), layer=42, texttype=10))
strong_arm_comp.add(gdstk.Label('Vinn', (12.75,0.5), layer=42, texttype=10))
strong_arm_comp.add(gdstk.Label('Voutp', (8,38.53), layer=42, texttype=10))
strong_arm_comp.add(gdstk.Label('Vinp', (-12.75,0.5), layer=42, texttype=10))
strong_arm_comp.add(gdstk.Label('vdd', (-23,38.23), layer=36, texttype=10))
strong_arm_comp.add(gdstk.Label('vss', (-23,0.8), layer=36, texttype=10))
strong_arm_comp.add(gdstk.Label('CLK', (0,38.53), layer=42, texttype=10))

lib.write_gds('strong_arm_comp.gds')
